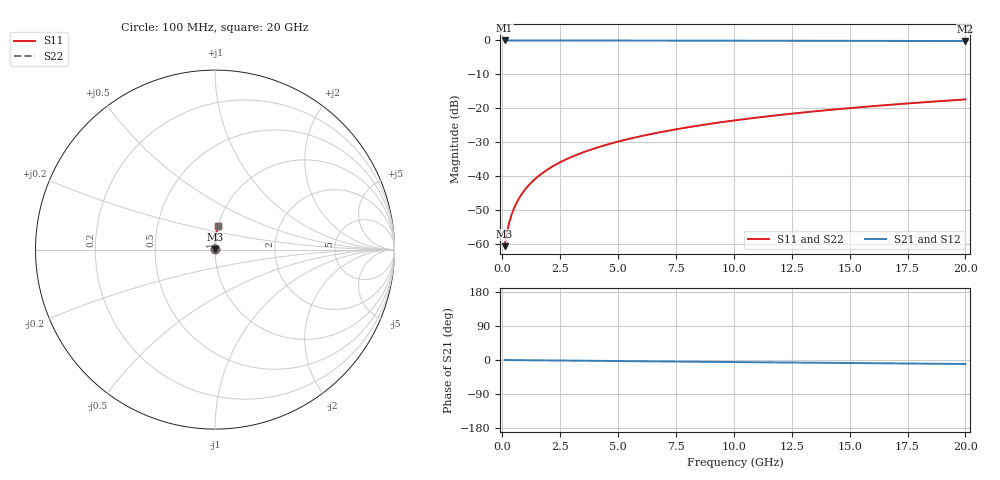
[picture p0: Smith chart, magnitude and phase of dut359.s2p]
! Touchstone file exported from HFSS 2024.1.0
!  File:  C:/UserFiles/LocalFiles/RDL_TSV_Batchsim/temp_RDL_bottom_359_1779612735.aedt
!  Generated:  04:54:54 PM May 24, 2026
!  Design:  RDL_bottom
!  Project:  temp_RDL_bottom_359_1779612735
!  Setup:  Setup1
!  Solution:  Sweep
! Variables:
!  dtsv = 10.80580581um
!  hbump = 3um
!  htsv = 66.93um
!  ldown = 105.49um
!  lrdl = 100um
!  p = 40
!  p1 = 49.89um
!  rhole = 1um
!  t = 450um
!  tdown = 4.51um
!  trdl = 3.915915916um
!  wdown = 16.46um
!  wrdl = 20um
# GHz S MA R 50.000000
! Terminal data exported
! Port[1] = RDL1_T1
! Port[2] = RDL1_T2
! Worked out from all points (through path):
!   200 points, 100 MHz to 20 GHz, reference 50 ohm
!   highest |S21| = -0.01 dB at 100 MHz (marker M1); lowest = -0.2 dB at 20 GHz (marker M2)
!   group delay of S21, straight-line fit = 1.45 ps
!   lowest |S11| = -60.6 dB at 100 MHz (marker M3), VSWR 1.00, Z = 50.1 + j0.0674 ohm
!   |S11| at or under -10 dB: start of sweep to end of sweep
!   |S22| runs from -60.6 to -17.4 dB; largest |S21 - S12| = 2.4e-15
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0.1  0.0009383 45.9  0.9993 -0.1  0.9993 -0.1  0.0009383 45.9
! Gamma 0 0 0 0
! Port Impedance 50 0 50 0
0.2  0.001495 63.2  0.9993 -0.1  0.9993 -0.1  0.001495 63.2
0.3  0.002102 70.6  0.9993 -0.2  0.9993 -0.2  0.002102 70.6
0.4  0.002719 74.8  0.9993 -0.2  0.9993 -0.2  0.002719 74.8
0.5  0.003342 77.4  0.9992 -0.3  0.9992 -0.3  0.003342 77.4
0.7  0.004597 80.7  0.9992 -0.4  0.9992 -0.4  0.004597 80.7
0.8  0.005229 81.7  0.9992 -0.5  0.9992 -0.5  0.005229 81.7
1  0.006497 83.3  0.9991 -0.6  0.9991 -0.6  0.006497 83.3
1.2  0.00777 84.3  0.999 -0.7  0.999 -0.7  0.00777 84.3
1.4  0.009047 85.1  0.999 -0.8  0.999 -0.8  0.009047 85.1
1.7  0.01097 85.9  0.9988 -1.0  0.9988 -1.0  0.01097 85.9
2  0.0129 86.4  0.9987 -1.2  0.9987 -1.2  0.0129 86.4
2.7  0.01741 87.2  0.9983 -1.6  0.9983 -1.6  0.01741 87.2
3.5  0.0226 87.6  0.9977 -2.0  0.9977 -2.0  0.0226 87.6
4.2  0.02718 87.8  0.9971 -2.4  0.9971 -2.4  0.02718 87.8
5  0.03246 87.9  0.9964 -2.8  0.9964 -2.8  0.03246 87.9
6.8  0.04449 87.8  0.9946 -3.8  0.9946 -3.8  0.04449 87.8
8.3  0.05467 87.4  0.9929 -4.6  0.9929 -4.6  0.05467 87.4
10.1  0.06703 86.8  0.991 -5.5  0.991 -5.5  0.06703 86.8
13.4  0.08989 85.2  0.9873 -7.2  0.9873 -7.2  0.08988 85.2
16.7  0.1127 83.5  0.9835 -8.8  0.9835 -8.8  0.1127 83.5
20  0.1354 81.7  0.9796 -10.5  0.9796 -10.5  0.1354 81.7
